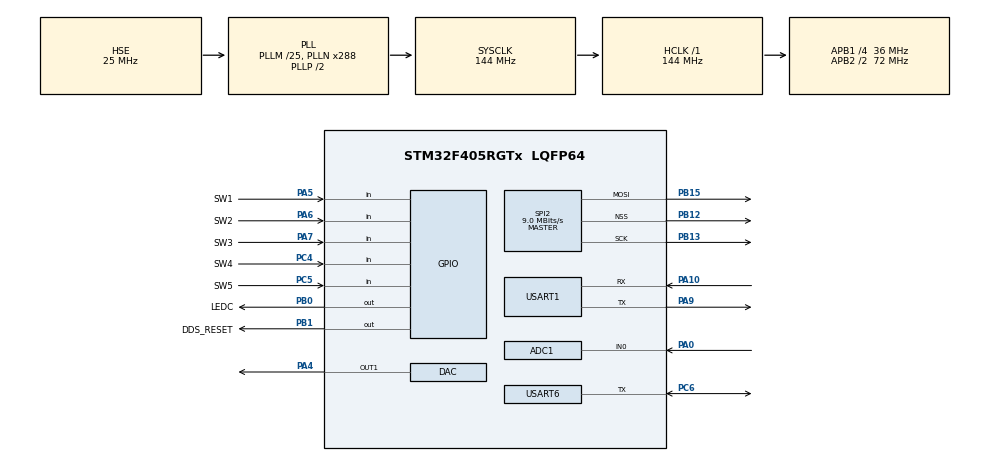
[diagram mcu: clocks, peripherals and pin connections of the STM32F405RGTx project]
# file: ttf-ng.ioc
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ADC1.Channel-3\#ChannelRegularConversion=ADC_CHANNEL_0
ADC1.ContinuousConvMode=ENABLE
ADC1.NbrOfConversion=1
ADC1.NbrOfConversionFlag=1
ADC1.Rank-3\#ChannelRegularConversion=1
ADC1.SamplingTime-3\#ChannelRegularConversion=ADC_SAMPLETIME_3CYCLES
ADC1.master=1
Dma.ADC1.0.Direction=DMA_PERIPH_TO_MEMORY
Dma.ADC1.0.FIFOMode=DMA_FIFOMODE_DISABLE
Dma.ADC1.0.Instance=DMA2_Stream0
Dma.ADC1.0.MemDataAlignment=DMA_MDATAALIGN_HALFWORD
Dma.ADC1.0.MemInc=DMA_MINC_ENABLE
Dma.ADC1.0.Mode=DMA_NORMAL
Dma.ADC1.0.PeriphDataAlignment=DMA_PDATAALIGN_HALFWORD
Dma.ADC1.0.PeriphInc=DMA_PINC_DISABLE
Dma.ADC1.0.Priority=DMA_PRIORITY_HIGH
Dma.Request0=ADC1
Dma.Request1=USART6_RX
Dma.USART6_RX.1.Direction=DMA_PERIPH_TO_MEMORY
Dma.USART6_RX.1.FIFOMode=DMA_FIFOMODE_DISABLE
Dma.USART6_RX.1.Instance=DMA2_Stream1
Dma.USART6_RX.1.MemDataAlignment=DMA_MDATAALIGN_BYTE
Dma.USART6_RX.1.MemInc=DMA_MINC_ENABLE
Dma.USART6_RX.1.Mode=DMA_NORMAL
Dma.USART6_RX.1.PeriphDataAlignment=DMA_PDATAALIGN_BYTE
Dma.USART6_RX.1.PeriphInc=DMA_PINC_DISABLE
Dma.USART6_RX.1.Priority=DMA_PRIORITY_LOW
FREERTOS.Queues01=requestQueue,1,profile_v2_t,0,Dynamic,NULL,NULL;messageQueue,4,uint32_t,0,Dynamic,NULL,NULL
FREERTOS.Tasks01=profileTask,1,2048,StartProfileTask,As weak,NULL,Dynamic,NULL,NULL;uxTask,0,2048,StartUxTask,As weak,NULL,Dynamic,NULL,NULL;uartTask,0,256,StartUartTask,As weak,NULL,Dynamic,NULL,NULL
FREERTOS.configTOTAL_HEAP_SIZE=65536
FREERTOS.configUSE_NEWLIB_REENTRANT=1
Mcu.Family=STM32F4
Mcu.Name=STM32F405RGTx
Mcu.Package=LQFP64
NVIC.DMA2_Stream0_IRQn=true\:5\:0\:false\:false\:true\:true\:false\:true\:true
NVIC.DMA2_Stream1_IRQn=true\:5\:0\:false\:false\:true\:true\:false\:true\:true
NVIC.PriorityGroup=NVIC_PRIORITYGROUP_4
NVIC.TIM2_IRQn=true\:15\:0\:false\:false\:true\:false\:false\:true\:true
NVIC.TimeBase=TIM2_IRQn
NVIC.TimeBaseIP=TIM2
NVIC.USART6_IRQn=true\:5\:0\:false\:false\:true\:true\:true\:true\:true
PA0-WKUP.Signal=ADCx_IN0
PA10.GPIO_Speed=GPIO_SPEED_FREQ_LOW
PA10.Mode=Asynchronous
PA10.Signal=USART1_RX
PA13.Mode=Serial_Wire
PA13.Signal=SYS_JTMS-SWDIO
PA14.Mode=Serial_Wire
PA14.Signal=SYS_JTCK-SWCLK
PA4.Signal=COMP_DAC1_group
PA5.GPIO_Label=SW1
PA5.GPIO_PuPd=GPIO_PULLUP
PA5.Signal=GPIO_Input
PA6.GPIO_Label=SW2
PA6.GPIO_PuPd=GPIO_PULLUP
PA6.Signal=GPIO_Input
PA7.GPIO_Label=SW3
PA7.GPIO_PuPd=GPIO_PULLUP
PA7.Signal=GPIO_Input
PA9.GPIO_Speed=GPIO_SPEED_FREQ_LOW
PA9.Mode=Asynchronous
PA9.Signal=USART1_TX
PB0.GPIO_Label=LEDC
PB0.Signal=GPIO_Output
PB1.GPIO_Label=DDS_RESET
PB1.Signal=GPIO_Output
PB12.Mode=NSS_Signal_Hard_Output
PB12.Signal=SPI2_NSS
PB13.Mode=TX_Only_Simplex_Unidirect_Master
PB13.Signal=SPI2_SCK
PB15.Mode=TX_Only_Simplex_Unidirect_Master
PB15.Signal=SPI2_MOSI
PC4.GPIO_Label=SW4
PC4.GPIO_PuPd=GPIO_PULLUP
PC4.Signal=GPIO_Input
PC5.GPIO_Label=SW5
PC5.GPIO_PuPd=GPIO_PULLUP
PC5.Signal=GPIO_Input
PC6.Mode=Half_duplex(single_wire_mode)
PC6.Signal=USART6_TX
PH0-OSC_IN.Mode=HSE-External-Clock-Source
PH0-OSC_IN.Signal=RCC_OSC_IN
PH1-OSC_OUT.Mode=HSE-External-Clock-Source
PH1-OSC_OUT.Signal=RCC_OSC_OUT
ProjectManager.HeapSize=0x200
ProjectManager.StackSize=0x400
ProjectManager.TargetToolchain=STM32CubeIDE
RCC.48MHZClocksFreq_Value=72000000
RCC.AHBFreq_Value=144000000
RCC.APB1CLKDivider=RCC_HCLK_DIV4
RCC.APB1Freq_Value=36000000
RCC.APB1TimFreq_Value=72000000
RCC.APB2CLKDivider=RCC_HCLK_DIV2
RCC.APB2Freq_Value=72000000
RCC.APB2TimFreq_Value=144000000
RCC.CortexFreq_Value=144000000
RCC.HCLKFreq_Value=144000000
RCC.HSE_VALUE=25000000
RCC.HSI_VALUE=16000000
RCC.LSE_VALUE=32768
RCC.PLLM=25
RCC.PLLN=288
RCC.PLLSourceVirtual=RCC_PLLSOURCE_HSE
RCC.RCC_MCO1Source=RCC_MCO1SOURCE_HSE
RCC.SYSCLKFreq_VALUE=144000000
RCC.SYSCLKSource=RCC_SYSCLKSOURCE_PLLCLK
RCC.VCOOutputFreq_Value=288000000
SH.ADCx_IN0.0=ADC1_IN0,IN0
SH.COMP_DAC1_group.0=DAC_OUT1,DAC_OUT1
SPI2.BaudRatePrescaler=SPI_BAUDRATEPRESCALER_4
SPI2.CLKPhase=SPI_PHASE_1EDGE
SPI2.CLKPolarity=SPI_POLARITY_HIGH
SPI2.CalculateBaudRate=9.0 MBits/s
SPI2.DataSize=SPI_DATASIZE_16BIT
SPI2.Direction=SPI_DIRECTION_2LINES
SPI2.Mode=SPI_MODE_MASTER
SPI2.VirtualNSS=VM_NSSHARD
SPI2.VirtualType=VM_MASTER
USART1.VirtualMode=VM_ASYNC
USART6.VirtualMode=VM_ASYNC
VP_CRC_VS_CRC.Mode=CRC_Activate
VP_FREERTOS_VS_CMSIS_V1.Mode=CMSIS_V1
VP_SYS_VS_tim2.Mode=TIM2
board=custom

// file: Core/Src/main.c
/* USER CODE BEGIN Header */
/**
 ******************************************************************************
 * @file           : main.c
 * @brief          : Main program body
 ******************************************************************************
 * @attention
 *
 * Copyright (c) 2024 STMicroelectronics.
 * All rights reserved.
 *
 * This software is licensed under terms that can be found in the LICENSE file
 * in the root directory of this software component.
 * If no LICENSE file comes with this software, it is provided AS-IS.
 *
 ******************************************************************************
 */

#include <stdio.h>
#include <stdarg.h>
#include <string.h>
#include <sys/stat.h>
#include <errno.h>
#include <math.h>
/* USER CODE END Header */
#include "main.h"
#include "cmsis_os.h"

/* USER CODE BEGIN Includes */
#include "profile.h"
// #include "tca9555.h"
/* USER CODE END Includes */

ADC_HandleTypeDef hadc1;
DMA_HandleTypeDef hdma_adc1;

CRC_HandleTypeDef hcrc;

DAC_HandleTypeDef hdac;

SPI_HandleTypeDef hspi2;

UART_HandleTypeDef huart1;
UART_HandleTypeDef huart6;
DMA_HandleTypeDef hdma_usart6_rx;

osThreadId profileTaskHandle;
osThreadId uxTaskHandle;
osThreadId uartTaskHandle;
osMessageQId requestQueueHandle;
osMessageQId messageQueueHandle;

void SystemClock_Config(void);
static void MX_GPIO_Init(void);
static void MX_DMA_Init(void);
static void MX_CRC_Init(void);
static void MX_SPI2_Init(void);
static void MX_DAC_Init(void);
static void MX_ADC1_Init(void);
static void MX_USART1_UART_Init(void);
static void MX_USART6_UART_Init(void);
void StartProfileTask(void const *argument);
void StartUxTask(void const *argument);
void StartUartTask(void const *argument);

/* USER CODE BEGIN 0 */

/**
 * @brief  Overrides the standard _write function to redirect stdout and stderr
 * to UART2
 * @param  file: File descriptor (1 for stdout, 2 for stderr)
 * @param  ptr: Pointer to the data buffer to be written
 * @param  len: Number of bytes to write
 * @retval The number of bytes written if successful, -1 otherwise
 *
 * @note   This function is called by printf and other stdio functions to output
 * data. It redirects standard output (stdout) and standard error (stderr) to
 * the configured UART2 peripheral, enabling printf functionality over serial.
 */
int _write(int file, char *ptr, int len) {
  // Redirect stdout (file=1) and stderr (file=2) to UART2
  if (file == 1 || file == 2) {
    HAL_UART_Transmit(&huart1, (uint8_t *)ptr, len, HAL_MAX_DELAY);
    return len;
  }

  errno = EBADF;
  return -1;
}

/*
---- test freq reg ----
200KHz, hi reg 16bit is 0x4083
200KHz, lo reg 16bit is 0x449b

 */

//  uint64_t test = DDS_FreqReg(200000);
//  printf("\r\n\r\n---- test freq reg ----\r\n");
//  printf("200KHz -> uint64_t, high 32bit is 0x%08x\r\n", (uint32_t)(test >>
//  32)); printf("200KHz -> uint64_t,  low 32bit is 0x%08x\r\n",
//  (uint32_t)test);
uint32_t DDS_FreqReg(double f_out) {
  uint32_t f32 = (uint32_t)round(f_out * 10.73741824);
  uint32_t lo = (f32 & 0x00003fff) | 0x00004000;
  uint32_t hi = (((f32 << 2) & 0xffff0000)) | 0x40000000;

  return hi | lo;
}

/**
 * @brief  Initializes and starts the AD9834 DDS (Direct Digital Synthesis) chip
 * @retval None
 *
 * https://www.analog.com/en/resources/app-notes/an-1070.html
 *
 * @note   This function configures and enables the AD9834 DDS chip from Analog
 * Devices by sending the following sequence via SPI:
 *         1. Control word with B28=1 and RESET=1 (reset chip, enable 28-bit
 * frequency writes)
 *         2. Frequency register low word (FREQLW)
 *         3. Frequency register high word (FREQHW)
 *         4. Phase register configuration
 *         5. Control word with B28=1 and RESET=0 (maintain config, enable
 * output)
 */
void DDS_Start(uint32_t freq, bool print) {
  if (freq < 10000) {
    freq = 10000;
  }

  uint32_t freq_reg = DDS_FreqReg((double)freq);
  uint16_t freq_lo = (uint16_t)(freq_reg & 0x0000FFFF);
  uint16_t freq_hi = ((uint16_t)((freq_reg >> 16) & 0x0000FFFF));

  uint16_t data[5] = {0x2100, // Control word: B28=1, RESET=1
                      freq_lo,
                      // 0x449C, // FREQLW for 200KHz
                      freq_hi,
                      // 0x4083,  // FREQHW for 200KHz
                      0xC000,  // Phase register
                      0x2000}; // Control word: B28=1, RESET=0 (enable output)

  if (print) {
    printf("dds freq: %lu, lo: 0x%04x, hi: 0x%04x\r\n", freq, freq_lo, freq_hi);
  }

  for (int i = 0; i < 5; i++) {
    HAL_SPI_Transmit(&hspi2, (uint8_t *)&data[i], 1, HAL_MAX_DELAY);
  }
}

/**
 * @brief  Starts the DAC channel 1 conversion
 * @retval None
 *
 * @note   This is a simple wrapper function that calls the HAL DAC start
 * function for DAC channel 1 using the pre-configured DAC handle (hdac)
 */
void DAC_Start(void) { HAL_DAC_Start(&hdac, DAC_CHANNEL_1); }

/**
 * @brief  Updates the DAC output voltage to the specified value in millivolts
 * @param  mv: Desired output voltage in millivolts (mV)
 * @retval None
 *
 * @note   This function converts the requested voltage from millivolts to the
 *         corresponding 12-bit DAC value (0-4095) based on a 3.3V reference
 * voltage, then updates DAC channel 1 with the calculated value
 */
// void DAC_Update(uint32_t mv)
//{
//   uint32_t value = (mv * 4095) / 3300; /* Convert 700mV to DAC value */
//   HAL_DAC_SetValue(&hdac, DAC_CHANNEL_1, DAC_ALIGN_12B_R, value);
// }

/**
 * @brief  Sets DAC OUT1 based on percentage input
 * @param  percentage: Input value from 0 to 100
 *         0%   -> 1150mV output
 *         100% -> 0V output
 * @retval None
 */
void DAC_SetOutput_Percent(uint32_t percentage) {
  //  static uint32_t last_percentage = 0;
  //
  //  // Validate input range
  //  if (percentage > 100)
  //  {
  //    percentage = 100;
  //  }
  //
  //  if (percentage == last_percentage)
  //  {
  //    return;
  //  }

  // Calculate DAC value
  // STM32F405 has 12-bit DAC (0-4095)
  // VREF = 3.3V
  // For 0% -> 1150mV (value = 1150/3300*4095)
  // For 100% -> 0V (value = 0)
  // Linear interpolation for values in between

  // 1150mV corresponds to DAC value of 1426 (1150/3300*4095)
  // 1150mV 1426
  // 1180mV 1464 <- nominal value
  // 1200mV 1489
  // 1210mV 1502 <- (nominal + max) / 2
  // 1240mV 1539
  // 1250mV 1551
  uint32_t value = 1502 - (percentage * 1502 / 100);

  // Write value to DAC channel 1
  // DAC_SetChannel1Data(DAC_Align_12b_R, dac_value);
  HAL_DAC_SetValue(&hdac, DAC_CHANNEL_1, DAC_ALIGN_12B_R, value);

  // printf("DAC out percentage: %lu, value: %lu\r\n", percentage, value);

  // Start DAC Channel1
  // DAC_Cmd(DAC_Channel_1, ENABLE);
}

// TODO what is this function for?
// void PA4_GPIO_High(void) {
//  GPIO_InitTypeDef GPIO_InitStruct = {0};
//
//  // HAL_GPIO_DeInit(GPIOA, GPIO_PIN_4);
//  HAL_DAC_Stop(&hdac, DAC_CHANNEL_1);
//
//  // Method 2: Set output register BEFORE HAL_GPIO_Init (avoids glitch)
//  HAL_GPIO_WritePin(GPIOA, GPIO_PIN_4,
//                    GPIO_PIN_SET); // Pre-load output register
//  GPIO_InitStruct.Pin = GPIO_PIN_4;
//  GPIO_InitStruct.Mode = GPIO_MODE_OUTPUT_PP;
//  GPIO_InitStruct.Pull = GPIO_NOPULL;
//  GPIO_InitStruct.Speed = GPIO_SPEED_FREQ_LOW;
//  HAL_GPIO_Init(GPIOA, &GPIO_InitStruct);
//}

// TODO what is this function for?
// void PA4_Restore_DAC(void) {
//  GPIO_InitTypeDef GPIO_InitStruct = {0};
//
//  HAL_GPIO_DeInit(GPIOA, GPIO_PIN_4);
//
//  // Reconfigure PA4 back to analog mode for DAC
//  GPIO_InitStruct.Pin = GPIO_PIN_4;
//  GPIO_InitStruct.Mode = GPIO_MODE_ANALOG;
//  GPIO_InitStruct.Pull = GPIO_NOPULL;
//  HAL_GPIO_Init(GPIOA, &GPIO_InitStruct);
//
//  // The DAC should now control the pin again
//  // Optionally write a new value to ensure proper output:
//  // HAL_DAC_SetValue(&hdac, DAC_CHANNEL_1, DAC_ALIGN_12B_R, your_dac_value);
//}

void DAC_Disable(void) {
  // Stop: Clear the EN bit
  hdac.Instance->CR &= ~DAC_CR_EN1; // For channel 1
}

void DAC_Enable(void) {
  // Restart: Set the EN bit
  hdac.Instance->CR |= DAC_CR_EN1; // For channel 1
}

/* USER CODE END 0 */

int main(void) {

  /* MCU Configuration--------------------------------------------------------*/

  /* Reset of all peripherals, Initializes the Flash interface and the Systick.
   */
  HAL_Init();

  /* Configure the system clock */
  SystemClock_Config();

  /* Initialize all configured peripherals */
  MX_GPIO_Init();
  MX_DMA_Init();
  MX_CRC_Init();
  MX_SPI2_Init();
  MX_DAC_Init();
  MX_ADC1_Init();
  MX_USART1_UART_Init();
  MX_USART6_UART_Init();

  /* Create the queue(s) */
  /* definition and creation of requestQueue */
  osMessageQDef(requestQueue, 1, profile_v2_t);
  requestQueueHandle = osMessageCreate(osMessageQ(requestQueue), NULL);

  /* definition and creation of messageQueue */
  osMessageQDef(messageQueue, 4, uint32_t);
  messageQueueHandle = osMessageCreate(osMessageQ(messageQueue), NULL);

  /* Create the thread(s) */
  /* definition and creation of profileTask */
  osThreadDef(profileTask, StartProfileTask, osPriorityAboveNormal, 0, 2048);
  profileTaskHandle = osThreadCreate(osThread(profileTask), NULL);

  /* definition and creation of uxTask */
  osThreadDef(uxTask, StartUxTask, osPriorityNormal, 0, 2048);
  uxTaskHandle = osThreadCreate(osThread(uxTask), NULL);

  /* definition and creation of uartTask */
  osThreadDef(uartTask, StartUartTask, osPriorityNormal, 0, 256);
  uartTaskHandle = osThreadCreate(osThread(uartTask), NULL);

  /* Start scheduler */
  osKernelStart();

  /* We should never get here as control is now taken by the scheduler */

  /* Infinite loop */
  while (1) {

  }
}

void SystemClock_Config(void) {
  RCC_OscInitTypeDef RCC_OscInitStruct = {0};
  RCC_ClkInitTypeDef RCC_ClkInitStruct = {0};

  /** Configure the main internal regulator output voltage
   */
  __HAL_RCC_PWR_CLK_ENABLE();
  __HAL_PWR_VOLTAGESCALING_CONFIG(PWR_REGULATOR_VOLTAGE_SCALE1);

  /** Initializes the RCC Oscillators according to the specified parameters
   * in the RCC_OscInitTypeDef structure.
   */
  RCC_OscInitStruct.OscillatorType = RCC_OSCILLATORTYPE_HSE;
  RCC_OscInitStruct.HSEState = RCC_HSE_BYPASS;
  RCC_OscInitStruct.PLL.PLLState = RCC_PLL_ON;
  RCC_OscInitStruct.PLL.PLLSource = RCC_PLLSOURCE_HSE;
  RCC_OscInitStruct.PLL.PLLM = 25;
  RCC_OscInitStruct.PLL.PLLN = 288;
  RCC_OscInitStruct.PLL.PLLP = RCC_PLLP_DIV2;
  RCC_OscInitStruct.PLL.PLLQ = 4;
  if (HAL_RCC_OscConfig(&RCC_OscInitStruct) != HAL_OK) {
    Error_Handler();
  }

  /** Initializes the CPU, AHB and APB buses clocks
   */
  RCC_ClkInitStruct.ClockType = RCC_CLOCKTYPE_HCLK | RCC_CLOCKTYPE_SYSCLK |
                                RCC_CLOCKTYPE_PCLK1 | RCC_CLOCKTYPE_PCLK2;
  RCC_ClkInitStruct.SYSCLKSource = RCC_SYSCLKSOURCE_PLLCLK;
  RCC_ClkInitStruct.AHBCLKDivider = RCC_SYSCLK_DIV1;
  RCC_ClkInitStruct.APB1CLKDivider = RCC_HCLK_DIV4;
  RCC_ClkInitStruct.APB2CLKDivider = RCC_HCLK_DIV2;

  if (HAL_RCC_ClockConfig(&RCC_ClkInitStruct, FLASH_LATENCY_4) != HAL_OK) {
    Error_Handler();
  }
}

static void MX_ADC1_Init(void) {

  ADC_ChannelConfTypeDef sConfig = {0};

  /** Configure the global features of the ADC (Clock, Resolution, Data
   * Alignment and number of conversion)
   */
  hadc1.Instance = ADC1;
  hadc1.Init.ClockPrescaler = ADC_CLOCK_SYNC_PCLK_DIV2;
  hadc1.Init.Resolution = ADC_RESOLUTION_12B;
  hadc1.Init.ScanConvMode = DISABLE;
  hadc1.Init.ContinuousConvMode = ENABLE;
  hadc1.Init.DiscontinuousConvMode = DISABLE;
  hadc1.Init.ExternalTrigConvEdge = ADC_EXTERNALTRIGCONVEDGE_NONE;
  hadc1.Init.ExternalTrigConv = ADC_SOFTWARE_START;
  hadc1.Init.DataAlign = ADC_DATAALIGN_RIGHT;
  hadc1.Init.NbrOfConversion = 1;
  hadc1.Init.DMAContinuousRequests = DISABLE;
  hadc1.Init.EOCSelection = ADC_EOC_SINGLE_CONV;
  if (HAL_ADC_Init(&hadc1) != HAL_OK) {
    Error_Handler();
  }

  /** Configure for the selected ADC regular channel its corresponding rank in
   * the sequencer and its sample time.
   */
  sConfig.Channel = ADC_CHANNEL_0;
  sConfig.Rank = 1;
  sConfig.SamplingTime = ADC_SAMPLETIME_3CYCLES;
  if (HAL_ADC_ConfigChannel(&hadc1, &sConfig) != HAL_OK) {
    Error_Handler();
  }
}

static void MX_CRC_Init(void) {

  hcrc.Instance = CRC;
  if (HAL_CRC_Init(&hcrc) != HAL_OK) {
    Error_Handler();
  }
}

static void MX_DAC_Init(void) {

  DAC_ChannelConfTypeDef sConfig = {0};

  /** DAC Initialization
   */
  hdac.Instance = DAC;
  if (HAL_DAC_Init(&hdac) != HAL_OK) {
    Error_Handler();
  }

  /** DAC channel OUT1 config
   */
  sConfig.DAC_Trigger = DAC_TRIGGER_NONE;
  sConfig.DAC_OutputBuffer = DAC_OUTPUTBUFFER_ENABLE;
  if (HAL_DAC_ConfigChannel(&hdac, &sConfig, DAC_CHANNEL_1) != HAL_OK) {
    Error_Handler();
  }
}

static void MX_SPI2_Init(void) {

  /* SPI2 parameter configuration*/
  hspi2.Instance = SPI2;
  hspi2.Init.Mode = SPI_MODE_MASTER;
  hspi2.Init.Direction = SPI_DIRECTION_2LINES;
  hspi2.Init.DataSize = SPI_DATASIZE_16BIT;
  hspi2.Init.CLKPolarity = SPI_POLARITY_HIGH;
  hspi2.Init.CLKPhase = SPI_PHASE_1EDGE;
  hspi2.Init.NSS = SPI_NSS_HARD_OUTPUT;
  hspi2.Init.BaudRatePrescaler = SPI_BAUDRATEPRESCALER_4;
  hspi2.Init.FirstBit = SPI_FIRSTBIT_MSB;
  hspi2.Init.TIMode = SPI_TIMODE_DISABLE;
  hspi2.Init.CRCCalculation = SPI_CRCCALCULATION_DISABLE;
  hspi2.Init.CRCPolynomial = 10;
  if (HAL_SPI_Init(&hspi2) != HAL_OK) {
    Error_Handler();
  }
}

static void MX_USART1_UART_Init(void) {

  huart1.Instance = USART1;
  huart1.Init.BaudRate = 115200;
  huart1.Init.WordLength = UART_WORDLENGTH_8B;
  huart1.Init.StopBits = UART_STOPBITS_1;
  huart1.Init.Parity = UART_PARITY_NONE;
  huart1.Init.Mode = UART_MODE_TX_RX;
  huart1.Init.HwFlowCtl = UART_HWCONTROL_NONE;
  huart1.Init.OverSampling = UART_OVERSAMPLING_16;
  if (HAL_UART_Init(&huart1) != HAL_OK) {
    Error_Handler();
  }
}

static void MX_USART6_UART_Init(void) {

  huart6.Instance = USART6;
  huart6.Init.BaudRate = 115200;
  huart6.Init.WordLength = UART_WORDLENGTH_8B;
  huart6.Init.StopBits = UART_STOPBITS_1;
  huart6.Init.Parity = UART_PARITY_NONE;
  huart6.Init.Mode = UART_MODE_TX_RX;
  huart6.Init.HwFlowCtl = UART_HWCONTROL_NONE;
  huart6.Init.OverSampling = UART_OVERSAMPLING_16;
  if (HAL_HalfDuplex_Init(&huart6) != HAL_OK) {
    Error_Handler();
  }
}

static void MX_DMA_Init(void) {

  /* DMA controller clock enable */
  __HAL_RCC_DMA2_CLK_ENABLE();

  /* DMA interrupt init */
  /* DMA2_Stream0_IRQn interrupt configuration */
  HAL_NVIC_SetPriority(DMA2_Stream0_IRQn, 5, 0);
  HAL_NVIC_EnableIRQ(DMA2_Stream0_IRQn);
  /* DMA2_Stream1_IRQn interrupt configuration */
  HAL_NVIC_SetPriority(DMA2_Stream1_IRQn, 5, 0);
  HAL_NVIC_EnableIRQ(DMA2_Stream1_IRQn);
}

static void MX_GPIO_Init(void) {
  GPIO_InitTypeDef GPIO_InitStruct = {0};

  /* GPIO Ports Clock Enable */
  __HAL_RCC_GPIOH_CLK_ENABLE();
  __HAL_RCC_GPIOA_CLK_ENABLE();
  __HAL_RCC_GPIOC_CLK_ENABLE();
  __HAL_RCC_GPIOB_CLK_ENABLE();

  /*Configure GPIO pin Output Level */
  HAL_GPIO_WritePin(GPIOB, LEDC_Pin | DDS_RESET_Pin, GPIO_PIN_RESET);

  /*Configure GPIO pins : SW1_Pin SW2_Pin SW3_Pin */
  GPIO_InitStruct.Pin = SW1_Pin | SW2_Pin | SW3_Pin;
  GPIO_InitStruct.Mode = GPIO_MODE_INPUT;
  GPIO_InitStruct.Pull = GPIO_PULLUP;
  HAL_GPIO_Init(GPIOA, &GPIO_InitStruct);

  /*Configure GPIO pins : SW4_Pin SW5_Pin */
  GPIO_InitStruct.Pin = SW4_Pin | SW5_Pin;
  GPIO_InitStruct.Mode = GPIO_MODE_INPUT;
  GPIO_InitStruct.Pull = GPIO_PULLUP;
  HAL_GPIO_Init(GPIOC, &GPIO_InitStruct);

  /*Configure GPIO pins : LEDC_Pin DDS_RESET_Pin */
  GPIO_InitStruct.Pin = LEDC_Pin | DDS_RESET_Pin;
  GPIO_InitStruct.Mode = GPIO_MODE_OUTPUT_PP;
  GPIO_InitStruct.Pull = GPIO_NOPULL;
  GPIO_InitStruct.Speed = GPIO_SPEED_FREQ_LOW;
  HAL_GPIO_Init(GPIOB, &GPIO_InitStruct);

}

__weak void StartProfileTask(void const *argument) {
  /* USER CODE BEGIN 5 */
  //  /* Infinite loop */
  //  // GPIO_PinState ps = GPIO_PIN_SET;
  //  // const uint8_t digipot = 192;
  //  // const uint8_t hello[] = "hello\r\n";
  //  // HAL_TIM_PWM_Start(&htim1, TIM_CHANNEL_1);
  //
  //  uart_printf(&huart2, "\r\n--- ttf boot ---\r\n");
  //  // AD9834_ConfigMCLK();
  //  // AD9834_Setup200kHzSineWave();
  //  // +AD9834_ConfigMCLK();
  //  TestAD9834();
  //
  //  print_tca9555();
  //  TCA9555_Init_All();
  //  print_tca9555();
  //
  //  // set P36 - P40 C (com), and P41-P45 S (signal)
  //  // chip 4 P0, chip 5 P0 and P1 involved
  //  // chip 4 P0 -> 00010101 (P36-38C)
  //  // chip 5 P1 -> 10100101 (P39-40C, P41-42S)
  //  // chip 5 P0 -> 10101000 (P43-45S, two lsbs irrelevent)
  //  // TCA9555_WriteReg(4, TCA9555_REG_OUTPUT_PORT0, 0b00010111);
  //
  //  TCA9555_WriteReg(4, TCA9555_REG_OUTPUT_PORT0, 0b00010101);
  //  TCA9555_WriteReg(5, TCA9555_REG_OUTPUT_PORT1, 0b10100101);
  //  TCA9555_WriteReg(5, TCA9555_REG_OUTPUT_PORT0, 0b10101000);
  //
  //
  //  for(int i = 0;;i++)
  //  {
  //
  //    // HAL_GPIO_WritePin();
  //    // HAL_GPIO_TogglePin(ledc_GPIO_Port, ledc_Pin);
  //
  //    // HAL_GPIO_WritePin(ledc_GPIO_Port, ledc_Pin, ps);
  //
  //    // HAL_UART_Transmit(&huart2, hello, 7, HAL_MAX_DELAY);
  //    // HAL_SPI_Transmit(&hspi1, &digipot, 1, HAL_MAX_DELAY);
  //
  //
  //    uart_printf(&huart2, "## %d\r\n", i);
  //
  ////    for (int j = 0; j < 6; j++)
  ////    {
  ////      TCA9555_WriteReg(j, TCA9555_REG_OUTPUT_PORT0, 0x00);
  ////      TCA9555_WriteReg(j, TCA9555_REG_OUTPUT_PORT1, 0x00);
  ////    }
  //
  ////    TCA9555_WriteReg(5, TCA9555_REG_OUTPUT_PORT0, 0x00);
  ////    if (i % 2 == 0)
  ////    {
  ////      regval = 1 << 2;
  ////    }
  ////    else
  ////    {
  ////      regval = 1 << 3;
  ////    }
  ////
  ////    TCA9555_WriteReg(5, TCA9555_REG_OUTPUT_PORT0, regval);
  //
  //
  //
  //
  //    // os neutral version of vTaskDelay(1000);
  //    osDelay(5000);
  //  }
  /* USER CODE END 5 */
}

__weak void StartUxTask(void const *argument) {
  for (;;) {
    osDelay(1);
  }
}

__weak void StartUartTask(void const *argument) {
  for (;;) {
    osDelay(1);
  }
}

void HAL_TIM_PeriodElapsedCallback(TIM_HandleTypeDef *htim) {
  if (htim->Instance == TIM2) {
    HAL_IncTick();
  }
}

void Error_Handler(void) {
  __disable_irq();
  while (1) {
  }
}
#ifdef USE_FULL_ASSERT
/**
 * @brief  Reports the name of the source file and the source line number
 *         where the assert_param error has occurred.
 * @param  file: pointer to the source file name
 * @param  line: assert_param error line source number
 * @retval None
 */
void assert_failed(uint8_t *file, uint32_t line) {
  /* USER CODE BEGIN 6 */
  /* User can add his own implementation to report the file name and line
     number, ex: printf("Wrong parameters value: file %s on line %d\r\n", file,
     line) */
  /* USER CODE END 6 */
}
#endif /* USE_FULL_ASSERT */
